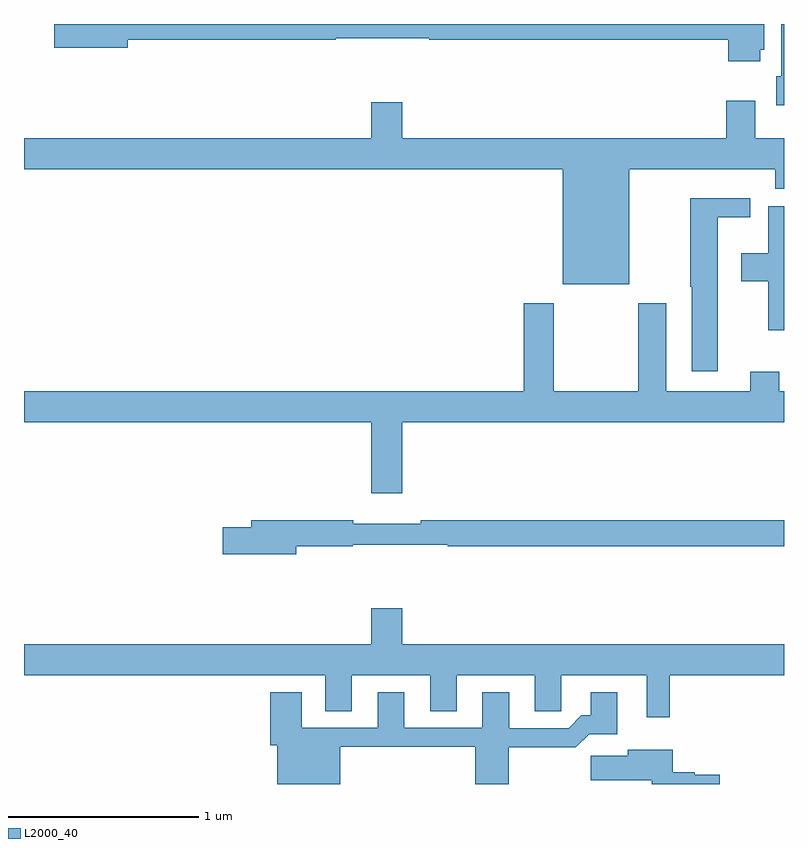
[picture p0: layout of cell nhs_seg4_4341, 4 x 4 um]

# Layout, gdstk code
import gdstk
lib = gdstk.Library(unit=1e-6, precision=1e-09)
def P(c, l, *ps):  # polygons
    for p in ps: c.add(gdstk.Polygon(p, *l))
L2000_40 = (2000, 40)

nhs_seg4_4341 = lib.new_cell('nhs_seg4_4341')
P(nhs_seg4_4341, L2000_40, [(346.876,814.764),(346.897,814.764),(346.897,814.9),(343.158,814.9),(343.158,814.774),(343.546,814.774),(343.546,814.816),(344.642,814.816),(344.642,814.824),(345.132,814.824),(345.132,814.816),(346.706,814.816),(346.706,814.704),(346.876,814.704)],
  [(347,814.9),(346.985,814.9),(346.985,814.626),(346.958,814.626),(346.958,814.472),(347,814.472)],
  [(346.186,814.136),(346.955,814.136),(346.955,814.034),(347,814.034),(347,814.3),(346.849,814.3),(346.849,814.495),(346.697,814.495),(346.697,814.3),(344.992,814.3),(344.992,814.489),(344.828,814.489),(344.828,814.3),(343,814.3),(343,814.136),(345.836,814.136),(345.836,813.53),(346.186,813.53)],
  [(346.651,813.884),(346.822,813.884),(346.822,813.982),(346.507,813.982),(346.507,813.517),(346.514,813.517),(346.514,813.072),(346.651,813.072)],
  [(347,813.942),(346.918,813.942),(346.918,813.694),(346.776,813.694),(346.776,813.547),(346.918,813.547),(346.918,813.287),(347,813.287)],
  [(344.992,812.804),(347,812.804),(347,812.968),(346.976,812.968),(346.976,813.07),(346.823,813.07),(346.823,812.968),(346.381,812.968),(346.381,813.43),(346.234,813.43),(346.234,812.968),(345.789,812.968),(345.789,813.43),(345.629,813.43),(345.629,812.968),(343,812.968),(343,812.804),(344.828,812.804),(344.828,812.43),(344.992,812.43)],
  [(344.434,812.152),(344.73,812.152),(344.73,812.16),(345.23,812.16),(345.23,812.152),(347,812.152),(347,812.288),(345.088,812.288),(345.088,812.269),(344.732,812.269),(344.732,812.288),(344.195,812.288),(344.195,812.252),(344.046,812.252),(344.046,812.11),(344.434,812.11)],
  [(346.399,811.472),(347,811.472),(347,811.636),(344.992,811.636),(344.992,811.825),(344.828,811.825),(344.828,811.636),(343,811.636),(343,811.472),(344.585,811.472),(344.585,811.282),(344.725,811.282),(344.725,811.472),(345.137,811.472),(345.137,811.282),(345.277,811.282),(345.277,811.472),(345.689,811.472),(345.689,811.282),(345.828,811.282),(345.828,811.472),(346.277,811.472),(346.277,811.251),(346.399,811.251)],
  [(344.665,811.096),(345.374,811.096),(345.374,810.9),(345.552,810.9),(345.552,811.094),(345.905,811.094),(345.974,811.163),(346.123,811.163),(346.123,811.384),(345.983,811.384),(345.983,811.261),(345.934,811.261),(345.867,811.194),(345.553,811.194),(345.553,811.384),(345.413,811.384),(345.413,811.197),(345.001,811.197),(345.001,811.384),(344.861,811.384),(344.861,811.197),(344.461,811.197),(344.461,811.384),(344.297,811.384),(344.297,811.104),(344.333,811.104),(344.333,810.9),(344.665,810.9)],
  [(346.662,810.949),(346.53,810.949),(346.53,810.962),(346.414,810.962),(346.414,811.081),(346.178,811.081),(346.178,811.049),(345.984,811.049),(345.984,810.92),(346.304,810.92),(346.304,810.9),(346.662,810.9)])

lib.write_gds('nhs_seg4_4341.gds')
